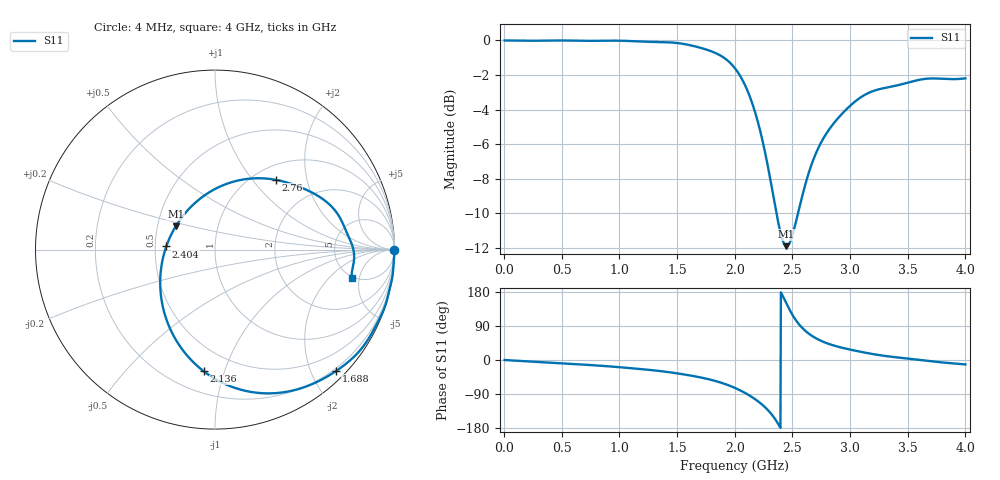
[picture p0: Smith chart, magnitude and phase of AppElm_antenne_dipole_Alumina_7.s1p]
! TOUCHSTONE file generated by CST MICROWAVE STUDIO
! Date and time: Sat May 14 11:21:41 2022
! Project name: AppElm_antenne_dipole_Alumina.cst
! Parameters = {L=33; e=0.035; f=2.45e+09; h=1.6; i=0.8; l1=2; lambda=122.449; ls=30; wl=1.7; ws=84}
! Header version: 2018
! Port assignment regex: !\s*Touchstone port\s*([0-9]+)\s*=\s*(CST MWS port|CST DS port)\s*([0-9]+|Zmin|Zmax)\s*\(\"(.*)\"\)(\s*mode\s*([0-9]+))?.*
! Touchstone port assignment:
! Touchstone port 1 = CST MWS port 1 ("")
# GHz S MA R 50
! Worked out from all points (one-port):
!   1000 points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, 4 MHz to 4 GHz, reference 50 ohm
!   lowest |S11| = -11.9 dB at 2.448 GHz (marker M1), VSWR 1.68, Z = 31.1 + j8.63 ohm
!   |S11| at or under -10 dB: 2.362 GHz to 2.548 GHz (186.2 MHz wide, 7.59 % of centre)
!   S11 on the Smith chart (normalised r, x): 4 MHz: open; 1.688 GHz: 0.16, -2.40; 2.136 GHz: 0.34, -0.85; 2.404 GHz: 0.57, +0.02; 2.76 GHz: 1.25, +1.32; 4 GHz: 4.84, -3.84
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0.004  1 -0.1
0.504  1 -8.7
1.004  0.9983 -19.1
1.32  0.9901 -28.1
1.504  0.9827 -35.4
1.688  0.9552 -45.1
1.78  0.9347 -51.2
1.856  0.912 -57.4
1.928  0.8804 -64.7
2.004  0.8291 -74.0
2.072  0.7627 -84.1
2.136  0.6807 -95.3
2.212  0.5619 -111.4
2.276  0.4518 -128.6
2.34  0.3469 -151.6
2.404  0.2719 176.2
2.448  0.2544 149.4
2.504  0.2765 117.2
2.56  0.3285 93.1
2.62  0.3922 74.8
2.684  0.4546 60.9
2.76  0.5152 49.0
2.864  0.5792 37.7
3.004  0.6491 27.2
3.204  0.715 15.3
3.504  0.7558 3.8
3.68  0.7759 -2.5
4  0.777 -11.7
